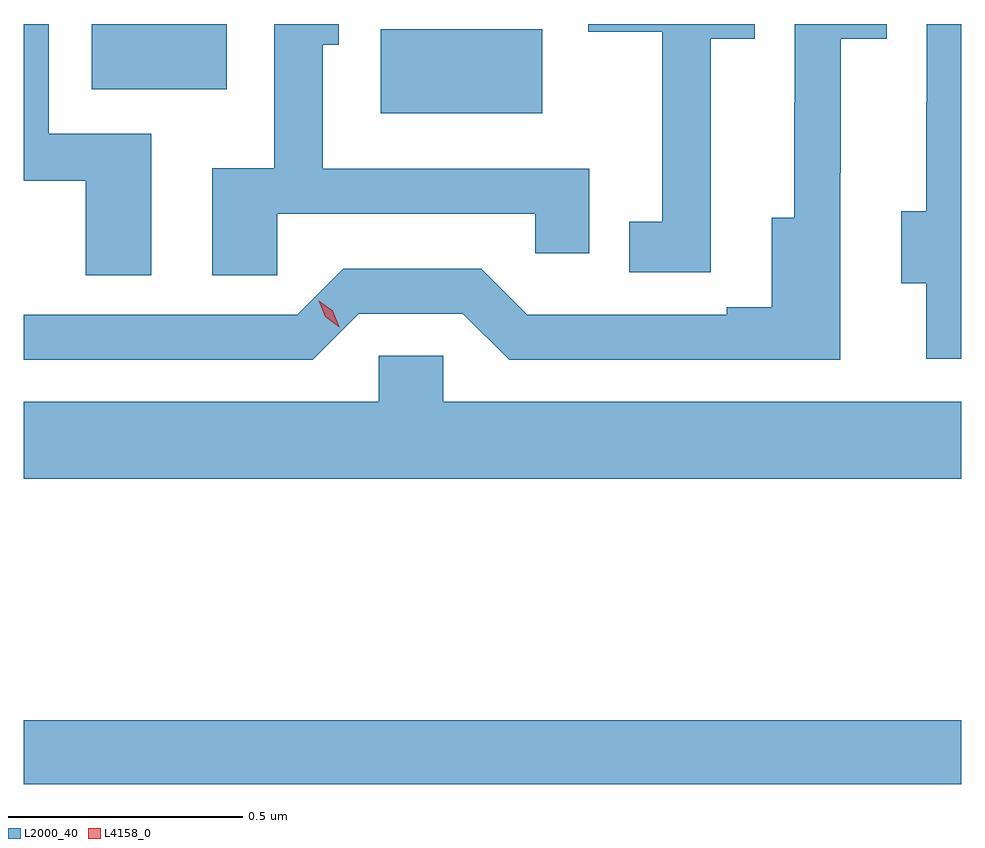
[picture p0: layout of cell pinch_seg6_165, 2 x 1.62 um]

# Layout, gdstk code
import gdstk
lib = gdstk.Library(unit=1e-6, precision=1e-09)
def R(c, l, rs):  # rectangles x0, y0, x1, y1
    for r in rs: c.add(gdstk.rectangle(r[:2], r[2:], *l))
def P(c, l, *ps):  # polygons
    for p in ps: c.add(gdstk.Polygon(p, *l))
L2000_40 = (2000, 40)
L4158_0 = (4158, 0)

pinch_seg6_165 = lib.new_cell('pinch_seg6_165')
R(pinch_seg6_165, L2000_40, [(1072.745,952.012,1074.745,952.148), (1073.507,953.444,1073.851,953.623), (1072.89,953.495,1073.178,953.634)])
P(pinch_seg6_165, L2000_40, [(1073.017,953.4),(1072.798,953.4),(1072.798,953.634),(1072.745,953.634),(1072.745,953.299),(1072.877,953.299),(1072.877,953.098),(1073.017,953.098)],
  [(1074.211,953.602),(1074.305,953.602),(1074.305,953.634),(1073.949,953.634),(1073.949,953.617),(1074.107,953.617),(1074.107,953.212),(1074.037,953.212),(1074.037,953.104),(1074.211,953.104)],
  [(1073.286,953.229),(1073.836,953.229),(1073.836,953.145),(1073.952,953.145),(1073.952,953.325),(1073.383,953.325),(1073.383,953.59),(1073.417,953.59),(1073.417,953.634),(1073.279,953.634),(1073.279,953.326),(1073.147,953.326),(1073.147,953.098),(1073.286,953.098)],
  [(1074.745,953.634),(1074.672,953.634),(1074.672,953.466),(1074.671,953.466),(1074.671,953.234),(1074.617,953.234),(1074.617,953.081),(1074.671,953.081),(1074.671,952.92),(1074.745,952.92)],
  [(1073.46,953.016),(1073.682,953.016),(1073.781,952.917),(1074.487,952.917),(1074.487,953.317),(1074.488,953.317),(1074.488,953.602),(1074.586,953.602),(1074.586,953.634),(1074.39,953.634),(1074.39,953.466),(1074.389,953.466),(1074.389,953.221),(1074.341,953.221),(1074.341,953.03),(1074.245,953.03),(1074.245,953.013),(1073.923,953.013),(1073.923,953.014),(1073.819,953.014),(1073.721,953.112),(1073.427,953.112),(1073.328,953.013),(1072.745,953.013),(1072.745,952.917),(1073.361,952.917)],
  [(1074.745,952.828),(1073.64,952.828),(1073.64,952.926),(1073.502,952.926),(1073.502,952.828),(1072.745,952.828),(1072.745,952.664),(1074.745,952.664)])
P(pinch_seg6_165, L4158_0, [(1073.418,952.987),(1073.388,953.009),(1073.374,953.043),(1073.374,953.043),(1073.374,953.043),(1073.404,953.022),(1073.418,952.988),(1073.418,952.987)])

lib.write_gds('pinch_seg6_165.gds')
